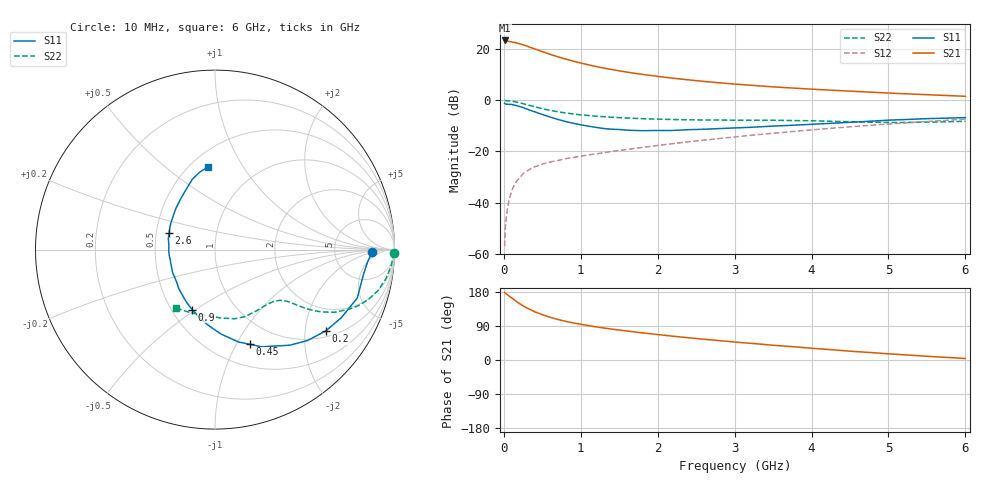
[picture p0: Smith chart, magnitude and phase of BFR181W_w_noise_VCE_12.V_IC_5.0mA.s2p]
! Infineon Technologies  Discrete & RF Semiconductors
! BFR181W
! VCE =  12. V,  IC =  5.0 mA
! Common Emitter S-Parameters:  Jan 2017
# GHz  S  MA  R  50
!  f  S11  S21  S12  S22
! GHz  MAG  ANG  MAG  ANG  MAG  ANG  MAG  ANG
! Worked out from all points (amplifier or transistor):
!   77 points, 10 MHz to 6 GHz, reference 50 ohm
!   highest |S21| = 23.5 dB at 10 MHz (marker M1)
!   |S21| within 3 dB of that: start of sweep to 372.2 MHz
!   unconditionally stable (mu >= 1): 1.422 GHz to 3.419 GHz
!   at 130 MHz: K = 0.17, MSG = 28.1 dB, |S12| = -33.5 dB
!   at 2.2 GHz: K = 1.07, MAG = 11.2 dB, |S12| = -16.9 dB
!   at 6 GHz: K = 0.85, MSG = 4.5 dB, |S12| = -7.3 dB
!   lowest NFmin = 0.97 dB at 450 MHz
!   S11 on the Smith chart (normalised r, x): 10 MHz: 15, -2; 200 MHz: 1.18, -2.57; 450 MHz: 0.74, -1.14; 900 MHz: 0.63, -0.48; 2.6 GHz: 0.58, +0.12; 6 GHz: 0.61, +0.71
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0.01  0.875 -1.0  14.93 178.2  0.0014 77.3  0.9955 -1.0
0.02  0.852 -4.8  14.61 176.0  0.0032 93.6  0.9925 -1.7
0.04  0.8428 -7.8  14.49 173.1  0.0065 88.3  0.9886 -3.8
0.1  0.8373 -18.8  14.04 164.0  0.0164 80.6  0.9663 -9.6
0.15  0.7996 -28.3  13.56 156.6  0.0242 74.7  0.9384 -13.9
0.2  0.7655 -36.3  12.9 149.3  0.0301 71.6  0.9017 -17.7
0.25  0.7226 -44.5  12.3 142.9  0.0367 67.3  0.864 -20.9
0.3  0.6767 -51.9  11.54 137.2  0.0415 64.7  0.8238 -23.6
0.4  0.6004 -64.4  10.23 127.3  0.05 61.2  0.7515 -27.7
0.45  0.563 -69.7  9.599 123.6  0.0532 59.6  0.7202 -28.9
0.5  0.5311 -75.7  9.008 119.5  0.0565 58.2  0.6893 -30.3
0.6  0.4729 -85.7  8.015 112.8  0.0622 56.1  0.6401 -31.9
0.7  0.4254 -94.7  7.16 107.1  0.0664 56.3  0.6004 -33.0
0.9  0.3576 -110.9  5.88 97.9  0.0764 55.8  0.5432 -34.3
1.1  0.3127 -125.3  4.978 90.8  0.0857 57.0  0.5063 -35.2
1.6  0.262 -156.8  3.584 76.4  0.1093 59.4  0.4539 -38.7
2.1  0.2573 178.4  2.837 65.0  0.1367 60.7  0.4263 -44.5
2.6  0.2725 159.8  2.356 54.8  0.1666 60.9  0.4138 -52.0
3.1  0.2931 144.5  2.039 45.8  0.1996 59.9  0.4092 -59.7
4.1  0.3465 122.4  1.632 29.6  0.2725 55.6  0.3959 -76.3
5.1  0.416 106.7  1.374 15.1  0.3527 48.6  0.37 -100.0
6  0.4614 95.0  1.205 3.9  0.4293 40.7  0.3913 -123.9
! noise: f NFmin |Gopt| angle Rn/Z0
0.45  0.97  0.33  16  0.23
0.9  1.03  0.3  30  0.23
1.9  1.44  0.15  80  0.2
2.4  1.59  0.13  94  0.22
